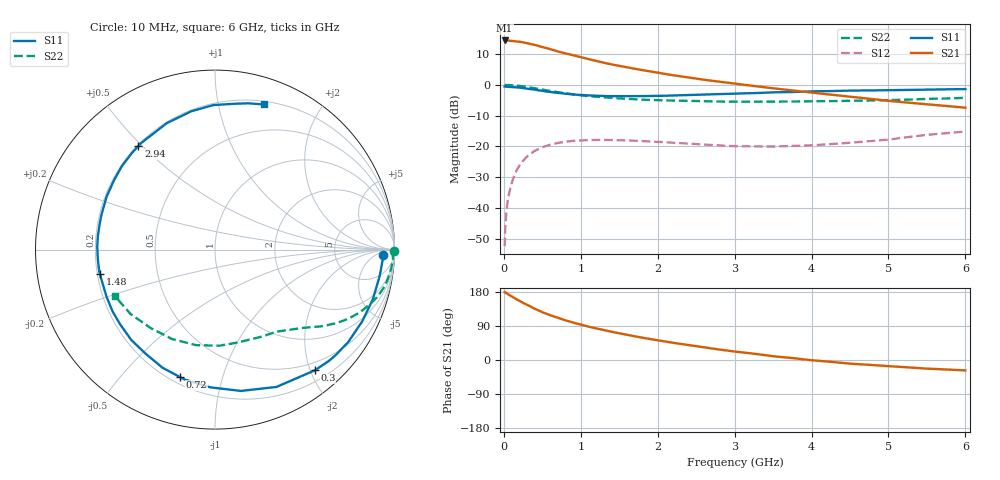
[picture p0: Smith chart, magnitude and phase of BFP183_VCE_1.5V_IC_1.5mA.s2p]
! Infineon Technologies  Discrete & RF Semiconductors
! BFP183
! VCE = 1.5 V,  IC =  1.5 mA
! Common Emitter S-Parameters:  Jan 2016
# GHz  S  MA  R  50
!  f  S11  S21  S12  S22
! GHz  MAG  ANG  MAG  ANG  MAG  ANG  MAG  ANG
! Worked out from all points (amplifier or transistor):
!   210 points, 10 MHz to 6 GHz, reference 50 ohm
!   highest |S21| = 14.4 dB at 10 MHz (marker M1)
!   |S21| within 3 dB of that: start of sweep to 628 MHz
!   unconditionally stable (mu >= 1): 2.22 GHz to end of sweep
!   at 185 MHz: K = 0.09, MSG = 20.5 dB, |S12| = -27.0 dB
!   at 1.52 GHz: K = 0.67, MSG = 12.0 dB, |S12| = -18.0 dB
!   at 6 GHz: K = 1.05, MAG = 2.6 dB, |S12| = -15.2 dB
!   S11 on the Smith chart (normalised r, x): 10 MHz: 26, -12; 300 MHz: 0.37, -2.07; 720 MHz: 0.24, -0.73; 1.48 GHz: 0.21, -0.10; 2.94 GHz: 0.20, +0.49; 6 GHz: 0.23, +1.37
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0.01  0.9372 -1.7  5.25 179.1  0.0024 85.5  0.9993 -0.6
0.02  0.9358 -3.5  5.221 178.2  0.0051 85.2  0.9903 -1.3
0.035  0.9316 -6.2  5.225 176.1  0.009 86.7  0.9918 -2.3
0.085  0.9222 -14.8  5.185 169.9  0.0211 80.2  0.9875 -5.7
0.2  0.9034 -34.8  5.046 156.3  0.0483 69.7  0.9624 -12.9
0.3  0.873 -50.4  4.749 146.0  0.0682 61.1  0.9232 -18.5
0.4  0.8383 -65.9  4.459 135.3  0.0844 52.7  0.8814 -23.3
0.5  0.8006 -79.6  4.118 126.1  0.0971 45.4  0.8362 -27.5
0.6  0.7678 -92.0  3.815 118.4  0.1068 39.2  0.7954 -30.8
0.72  0.7366 -105.4  3.434 110.1  0.1149 33.1  0.7534 -34.0
0.9  0.6968 -123.8  3.017 98.8  0.1231 25.4  0.7006 -37.9
1.02  0.6825 -134.5  2.759 92.1  0.1251 20.9  0.6714 -40.2
1.22  0.664 -150.5  2.408 82.4  0.1273 14.7  0.6377 -43.7
1.48  0.6554 -168.0  2.053 71.2  0.1259 9.4  0.6036 -47.6
1.8  0.657 173.3  1.733 58.8  0.1219 4.8  0.5741 -52.6
2.02  0.6618 162.1  1.556 51.4  0.1183 2.8  0.5618 -56.2
2.58  0.6949 138.8  1.217 34.1  0.1071 1.2  0.5401 -66.8
2.94  0.7177 126.5  1.07 24.0  0.1016 2.8  0.5332 -74.5
3.1  0.7253 121.8  1.009 20.2  0.1005 4.3  0.5318 -78.2
4.1  0.7853 97.8  0.725 -2.2  0.1061 16.0  0.542 -104.1
5.1  0.8206 82.1  0.534 -17.5  0.134 23.2  0.5679 -132.0
6  0.8531 71.4  0.425 -27.5  0.1742 19.0  0.6156 -155.2
